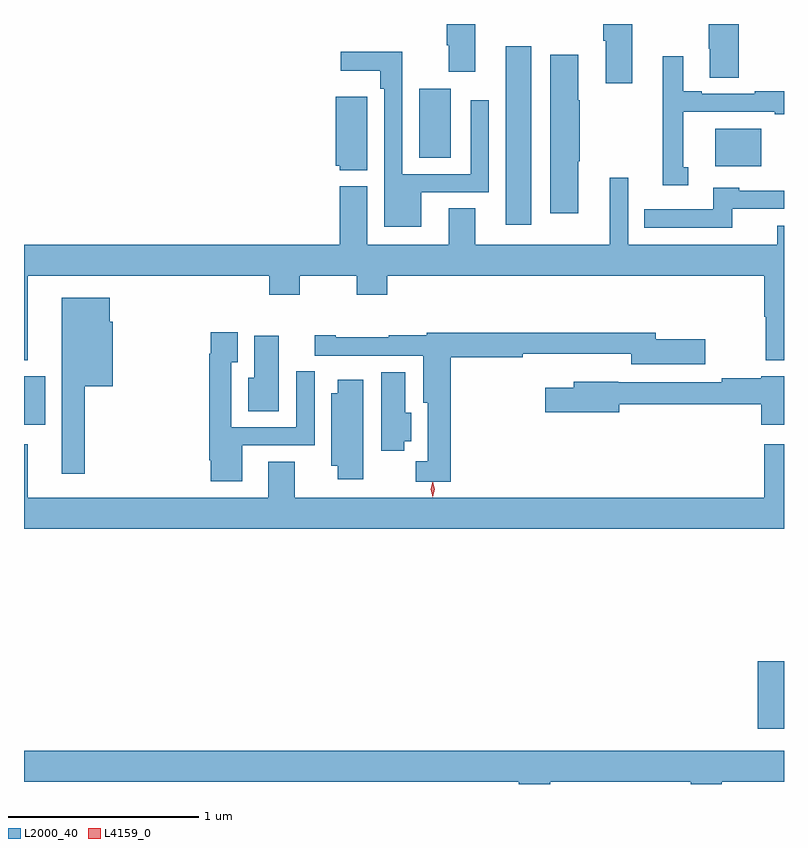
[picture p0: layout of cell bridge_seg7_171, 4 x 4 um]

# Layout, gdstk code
import gdstk
lib = gdstk.Library(unit=1e-6, precision=1e-09)
def R(c, l, rs):  # rectangles x0, y0, x1, y1
    for r in rs: c.add(gdstk.rectangle(r[:2], r[2:], *l))
def P(c, l, *ps):  # polygons
    for p in ps: c.add(gdstk.Polygon(p, *l))
L2000_40 = (2000, 40)
L4159_0 = (4159, 0)

bridge_seg7_171 = lib.new_cell('bridge_seg7_171')
R(bridge_seg7_171, L2000_40, [(457.052,1071.491,457.19,1071.847), (453.19,1073.093,453.301,1073.347), (455.726,1074.144,455.86,1075.084), (456.827,1074.452,457.069,1074.649), (455.27,1074.496,455.437,1074.859)])
P(bridge_seg7_171, L2000_40, [(455.566,1075.201),(455.414,1075.201),(455.414,1075.088),(455.426,1075.088),(455.426,1074.951),(455.566,1074.951)],
  [(456.391,1075.201),(456.239,1075.201),(456.239,1075.112),(456.251,1075.112),(456.251,1074.888),(456.391,1074.888)],
  [(456.953,1075.201),(456.793,1075.201),(456.793,1075.07),(456.8,1075.07),(456.8,1074.919),(456.953,1074.919)],
  [(455.281,1074.315),(455.637,1074.315),(455.637,1074.799),(455.541,1074.799),(455.541,1074.411),(455.181,1074.411),(455.181,1075.054),(454.857,1075.054),(454.857,1074.956),(455.065,1074.956),(455.065,1074.86),(455.085,1074.86),(455.085,1074.134),(455.281,1074.134)],
  [(456.106,1074.478),(456.114,1074.478),(456.114,1074.8),(456.106,1074.8),(456.106,1075.039),(455.96,1075.039),(455.96,1074.204),(456.106,1074.204)],
  [(456.685,1074.447),(456.661,1074.447),(456.661,1074.738),(457.142,1074.738),(457.142,1074.726),(457.19,1074.726),(457.19,1074.847),(457.036,1074.847),(457.036,1074.834),(456.757,1074.834),(456.757,1074.847),(456.661,1074.847),(456.661,1075.03),(456.551,1075.03),(456.551,1074.785),(456.552,1074.785),(456.552,1074.353),(456.685,1074.353)],
  [(454.996,1074.817),(454.832,1074.817),(454.832,1074.456),(454.851,1074.456),(454.851,1074.431),(454.996,1074.431)],
  [(456.369,1074.391),(456.272,1074.391),(456.272,1074.04),(455.566,1074.04),(455.566,1074.23),(455.426,1074.23),(455.426,1074.04),(454.996,1074.04),(454.996,1074.346),(454.853,1074.346),(454.853,1074.04),(453.19,1074.04),(453.19,1073.432),(453.211,1073.432),(453.211,1073.876),(454.481,1073.876),(454.481,1073.777),(454.641,1073.777),(454.641,1073.876),(454.942,1073.876),(454.942,1073.777),(455.102,1073.777),(455.102,1073.876),(457.086,1073.876),(457.086,1073.66),(457.093,1073.66),(457.093,1073.432),(457.19,1073.432),(457.19,1074.139),(457.154,1074.139),(457.154,1074.04),(456.369,1074.04)],
  [(456.918,1074.228),(457.19,1074.228),(457.19,1074.324),(456.954,1074.324),(456.954,1074.34),(456.818,1074.34),(456.818,1074.225),(456.454,1074.225),(456.454,1074.129),(456.918,1074.129)],
  [(453.511,1073.294),(453.658,1073.294),(453.658,1073.634),(453.64,1073.634),(453.64,1073.761),(453.389,1073.761),(453.389,1072.833),(453.511,1072.833)],
  [(454.339,1072.983),(454.719,1072.983),(454.719,1073.373),(454.623,1073.373),(454.623,1073.079),(454.281,1073.079),(454.281,1073.422),(454.315,1073.422),(454.315,1073.578),(454.173,1073.578),(454.173,1073.465),(454.165,1073.465),(454.165,1072.906),(454.172,1072.906),(454.172,1072.794),(454.339,1072.794)],
  [(455.437,1073.446),(455.815,1073.446),(455.815,1073.465),(456.386,1073.465),(456.386,1073.411),(456.775,1073.411),(456.775,1073.541),(456.514,1073.541),(456.514,1073.575),(455.31,1073.575),(455.31,1073.563),(455.11,1073.563),(455.11,1073.553),(454.831,1073.553),(454.831,1073.563),(454.719,1073.563),(454.719,1073.454),(455.291,1073.454),(455.291,1073.208),(455.315,1073.208),(455.315,1072.9),(455.251,1072.9),(455.251,1072.793),(455.437,1072.793)],
  [(454.531,1073.56),(454.403,1073.56),(454.403,1073.338),(454.37,1073.338),(454.37,1073.164),(454.531,1073.164)],
  [(455.19,1073.006),(455.227,1073.006),(455.227,1073.154),(455.197,1073.154),(455.197,1073.369),(455.069,1073.369),(455.069,1072.954),(455.19,1072.954)],
  [(457.19,1073.347),(457.07,1073.347),(457.07,1073.336),(456.862,1073.336),(456.862,1073.316),(456.318,1073.316),(456.318,1073.317),(456.083,1073.317),(456.083,1073.287),(455.934,1073.287),(455.934,1073.158),(456.322,1073.158),(456.322,1073.2),(457.07,1073.2),(457.07,1073.093),(457.19,1073.093)],
  [(454.975,1073.329),(454.841,1073.329),(454.841,1073.257),(454.808,1073.257),(454.808,1072.877),(454.841,1072.877),(454.841,1072.806),(454.975,1072.806)],
  [(457.19,1072.99),(457.086,1072.99),(457.086,1072.708),(454.615,1072.708),(454.615,1072.898),(454.475,1072.898),(454.475,1072.708),(453.211,1072.708),(453.211,1072.99),(453.19,1072.99),(453.19,1072.544),(457.19,1072.544)],
  [(455.96,1071.212),(456.698,1071.212),(456.698,1071.201),(456.863,1071.201),(456.863,1071.212),(457.19,1071.212),(457.19,1071.376),(453.19,1071.376),(453.19,1071.212),(455.795,1071.212),(455.795,1071.201),(455.96,1071.201)])
P(bridge_seg7_171, L4159_0, [(455.341,1072.711),(455.341,1072.711),(455.331,1072.752),(455.341,1072.793),(455.341,1072.793),(455.341,1072.793),(455.351,1072.752),(455.341,1072.711)])

lib.write_gds('bridge_seg7_171.gds')
